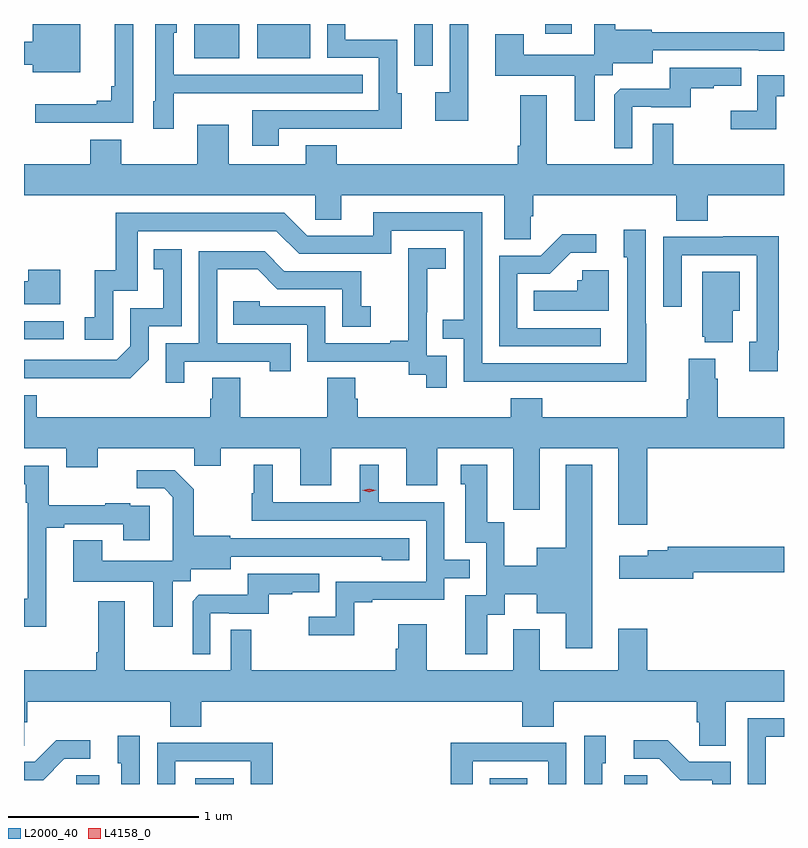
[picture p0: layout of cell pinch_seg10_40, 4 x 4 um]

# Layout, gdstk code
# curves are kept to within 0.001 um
import gdstk
lib = gdstk.Library(unit=1e-6, precision=1e-09)
def R(c, l, rs):  # rectangles x0, y0, x1, y1
    for r in rs: c.add(gdstk.rectangle(r[:2], r[2:], *l))
def P(c, l, *ps):  # polygons
    for p in ps: c.add(gdstk.Polygon(p, *l))
L2000_40 = (2000, 40)
L4158_0 = (4158, 0)

pinch_seg10_40 = lib.new_cell('pinch_seg10_40')
R(pinch_seg10_40, L2000_40, [(899.295,1277.238,899.416,1277.285), (899.921,1277.238,900.124,1277.269), (901.472,1277.238,901.669,1277.269), (902.18,1277.238,902.301,1277.285), (899.02,1279.578,899.23,1279.674), (901.074,1281.018,901.17,1281.238), (899.915,1281.059,900.154,1281.238), (900.248,1281.059,900.526,1281.238), (901.763,1281.186,901.903,1281.238)])
P(pinch_seg10_40, L2000_40, [(902.023,1280.968),(902.118,1280.968),(902.118,1281.032),(902.329,1281.032),(902.329,1281.099),(902.887,1281.099),(902.887,1281.098),(903.02,1281.098),(903.02,1281.195),(902.325,1281.195),(902.325,1281.208),(902.133,1281.208),(902.133,1281.238),(902.022,1281.238),(902.022,1281.076),(901.651,1281.076),(901.651,1281.185),(901.499,1281.185),(901.499,1280.966),(901.919,1280.966),(901.919,1280.73),(902.023,1280.73)],
  [(900.361,1280.688),(900.791,1280.688),(900.791,1280.687),(901.009,1280.687),(901.009,1280.874),(900.984,1280.874),(900.984,1281.156),(900.711,1281.156),(900.711,1281.238),(900.615,1281.238),(900.615,1281.06),(900.888,1281.06),(900.888,1280.784),(900.221,1280.784),(900.221,1280.598),(900.361,1280.598)],
  [(899.595,1281.238),(899.498,1281.238),(899.498,1280.911),(899.479,1280.911),(899.479,1280.834),(899.402,1280.834),(899.402,1280.815),(899.079,1280.815),(899.079,1280.718),(899.595,1280.718)],
  [(899.808,1280.873),(900.125,1280.873),(900.125,1280.874),(900.803,1280.874),(900.803,1280.97),(899.808,1280.97),(899.808,1281.192),(899.824,1281.192),(899.824,1281.238),(899.712,1281.238),(899.712,1280.832),(899.699,1280.832),(899.699,1280.688),(899.808,1280.688)],
  [(899.317,1281.238),(899.066,1281.238),(899.066,1281.145),(899.02,1281.145),(899.02,1281.023),(899.066,1281.023),(899.066,1280.984),(899.317,1280.984)],
  [(901.357,1281.238),(901.26,1281.238),(901.26,1280.878),(901.185,1280.878),(901.185,1280.73),(901.357,1280.73)],
  [(902.22,1280.802),(902.32,1280.802),(902.32,1280.799),(902.528,1280.799),(902.528,1280.901),(902.651,1280.901),(902.651,1280.912),(902.795,1280.912),(902.795,1281.009),(902.418,1281.009),(902.418,1280.897),(902.159,1280.897),(902.127,1280.865),(902.127,1280.585),(902.22,1280.585)],
  [(902.979,1280.859),(903.02,1280.859),(903.02,1280.967),(902.88,1280.967),(902.88,1280.782),(902.739,1280.782),(902.739,1280.684),(902.979,1280.684)],
  [(901.686,1280.227),(901.7,1280.227),(901.7,1280.336),(902.453,1280.336),(902.453,1280.203),(902.618,1280.203),(902.618,1280.336),(903.02,1280.336),(903.02,1280.5),(902.437,1280.5),(902.437,1280.714),(902.328,1280.714),(902.328,1280.5),(901.771,1280.5),(901.771,1280.863),(901.631,1280.863),(901.631,1280.596),(901.619,1280.596),(901.619,1280.5),(900.667,1280.5),(900.667,1280.599),(900.503,1280.599),(900.503,1280.5),(900.097,1280.5),(900.097,1280.707),(899.933,1280.707),(899.933,1280.5),(899.533,1280.5),(899.533,1280.629),(899.369,1280.629),(899.369,1280.5),(899.02,1280.5),(899.02,1280.336),(900.552,1280.336),(900.552,1280.209),(900.691,1280.209),(900.691,1280.336),(901.547,1280.336),(901.547,1280.104),(901.686,1280.104)],
  [(902.295,1279.661),(902.292,1279.661),(902.292,1280.155),(902.177,1280.155),(902.177,1280.01),(902.196,1280.01),(902.195,1279.452),(901.431,1279.452),(901.431,1280.247),(900.857,1280.247),(900.857,1280.124),(900.51,1280.124),(900.39,1280.244),(899.503,1280.244),(899.503,1279.942),(899.393,1279.942),(899.393,1279.695),(899.34,1279.695),(899.34,1279.575),(899.49,1279.575),(899.49,1279.833),(899.619,1279.833),(899.619,1280.148),(900.348,1280.148),(900.468,1280.028),(900.954,1280.028),(900.954,1280.151),(901.335,1280.151),(901.335,1279.682),(901.225,1279.682),(901.225,1279.581),(901.335,1279.581),(901.335,1279.356),(902.295,1279.355)],
  [(902.056,1279.638),(901.617,1279.638),(901.617,1279.923),(901.786,1279.923),(901.897,1280.034),(902.032,1280.034),(902.032,1280.132),(901.853,1280.132),(901.74,1280.019),(901.521,1280.019),(901.521,1279.542),(902.056,1279.542)],
  [(902.986,1279.522),(902.993,1279.522),(902.993,1280.12),(902.701,1280.12),(902.701,1280.118),(902.385,1280.118),(902.385,1279.749),(902.481,1279.749),(902.481,1280.022),(902.877,1280.022),(902.877,1279.566),(902.837,1279.566),(902.837,1279.41),(902.986,1279.41)],
  [(901.245,1279.491),(901.14,1279.491),(901.14,1279.721),(901.142,1279.721),(901.142,1279.949),(901.24,1279.949),(901.24,1280.059),(901.042,1280.059),(901.042,1279.853),(901.043,1279.853),(901.043,1279.57),(900.947,1279.57),(900.947,1279.557),(900.606,1279.557),(900.606,1279.752),(900.261,1279.752),(900.261,1279.779),(900.121,1279.779),(900.121,1279.656),(900.51,1279.656),(900.51,1279.461),(901.044,1279.461),(901.044,1279.393),(901.137,1279.393),(901.137,1279.323),(901.245,1279.323)],
  [(899.676,1279.47),(899.676,1279.647),(899.85,1279.647),(899.85,1280.053),(899.704,1280.053),(899.704,1279.947),(899.753,1279.947),(899.753,1279.743),(899.58,1279.743),(899.58,1279.542),(899.508,1279.47),(899.02,1279.47),(899.02,1279.374),(899.578,1279.373)],
  [(899.863,1279.461),(900.314,1279.461),(900.314,1279.41),(900.425,1279.41),(900.425,1279.557),(900.036,1279.557),(900.036,1279.946),(900.25,1279.946),(900.354,1279.842),(900.696,1279.842),(900.696,1279.644),(900.844,1279.644),(900.844,1279.753),(900.795,1279.753),(900.795,1279.938),(900.391,1279.938),(900.286,1280.043),(899.94,1280.043),(899.94,1279.557),(899.766,1279.557),(899.766,1279.35),(899.863,1279.35)],
  [(899.212,1279.945),(899.042,1279.945),(899.042,1279.885),(899.02,1279.885),(899.02,1279.763),(899.212,1279.763)],
  [(902.098,1279.942),(901.959,1279.942),(901.959,1279.89),(901.933,1279.89),(901.933,1279.834),(901.702,1279.834),(901.702,1279.73),(902.098,1279.73)],
  [(902.749,1279.73),(902.788,1279.73),(902.788,1279.933),(902.591,1279.933),(902.591,1279.593),(902.603,1279.593),(902.603,1279.562),(902.749,1279.562)],
  [(902.3,1279.004),(903.02,1279.004),(903.02,1279.168),(902.672,1279.168),(902.672,1279.37),(902.659,1279.37),(902.659,1279.477),(902.519,1279.477),(902.519,1279.264),(902.507,1279.264),(902.507,1279.168),(901.748,1279.168),(901.748,1279.267),(901.583,1279.267),(901.583,1279.168),(900.776,1279.168),(900.776,1279.266),(900.763,1279.266),(900.763,1279.376),(900.616,1279.376),(900.616,1279.168),(900.159,1279.168),(900.159,1279.376),(900.011,1279.376),(900.011,1279.266),(899.999,1279.266),(899.999,1279.168),(899.087,1279.168),(899.087,1279.285),(899.02,1279.285),(899.02,1279.004),(899.243,1279.004),(899.243,1278.905),(899.407,1278.905),(899.407,1279.004),(899.917,1279.004),(899.917,1278.914),(900.055,1278.914),(900.055,1279.004),(900.473,1279.004),(900.473,1278.81),(900.637,1278.81),(900.637,1279.004),(901.031,1279.004),(901.031,1278.81),(901.195,1278.81),(901.195,1279.004),(901.595,1279.004),(901.595,1278.793),(901.596,1278.793),(901.596,1278.681),(901.735,1278.681),(901.735,1279.004),(902.147,1279.004),(902.147,1278.603),(902.3,1278.603)],
  [(900.759,1278.195),(900.853,1278.195),(900.853,1278.207),(901.233,1278.207),(901.233,1278.321),(901.367,1278.321),(901.367,1278.417),(901.233,1278.417),(901.233,1278.72),(900.886,1278.72),(900.886,1278.919),(900.788,1278.919),(900.788,1278.72),(900.328,1278.72),(900.328,1278.919),(900.23,1278.919),(900.23,1278.768),(900.219,1278.768),(900.219,1278.624),(901.137,1278.624),(901.137,1278.303),(900.66,1278.303),(900.66,1278.118),(900.519,1278.118),(900.519,1278.02),(900.759,1278.02)],
  [(901.459,1278.13),(901.549,1278.13),(901.549,1278.236),(901.718,1278.236),(901.718,1278.137),(901.871,1278.137),(901.871,1277.952),(902.011,1277.952),(902.011,1278.919),(901.871,1278.919),(901.871,1278.481),(901.718,1278.481),(901.718,1278.388),(901.548,1278.388),(901.548,1278.615),(901.459,1278.615),(901.459,1278.919),(901.319,1278.919),(901.319,1278.816),(901.343,1278.816),(901.343,1278.507),(901.452,1278.507),(901.452,1278.231),(901.343,1278.231),(901.343,1277.922),(901.459,1277.922)],
  [(899.137,1278.588),(899.233,1278.588),(899.233,1278.606),(899.543,1278.606),(899.543,1278.522),(899.683,1278.522),(899.683,1278.702),(899.579,1278.702),(899.579,1278.715),(899.447,1278.715),(899.447,1278.704),(899.149,1278.704),(899.149,1278.912),(899.02,1278.912),(899.02,1278.815),(899.028,1278.815),(899.028,1278.719),(899.04,1278.719),(899.04,1278.214),(899.02,1278.214),(899.02,1278.066),(899.137,1278.066)],
  [(899.803,1278.304),(899.898,1278.304),(899.898,1278.368),(900.109,1278.368),(900.109,1278.435),(900.903,1278.434),(900.903,1278.416),(901.048,1278.416),(901.048,1278.531),(900.105,1278.531),(900.105,1278.544),(899.913,1278.544),(899.913,1278.789),(899.813,1278.889),(899.613,1278.889),(899.613,1278.795),(899.757,1278.795),(899.804,1278.748),(899.804,1278.653),(899.802,1278.653),(899.802,1278.412),(899.431,1278.412),(899.431,1278.521),(899.279,1278.521),(899.279,1278.302),(899.699,1278.302),(899.699,1278.066),(899.803,1278.066)],
  [(902.542,1278.352),(903.02,1278.352),(903.02,1278.488),(902.407,1278.488),(902.407,1278.469),(902.303,1278.469),(902.303,1278.439),(902.154,1278.439),(902.154,1278.317),(902.542,1278.317)],
  [(900,1278.138),(900.1,1278.138),(900.1,1278.135),(900.308,1278.135),(900.308,1278.237),(900.431,1278.237),(900.431,1278.248),(900.575,1278.248),(900.575,1278.345),(900.198,1278.345),(900.198,1278.233),(899.939,1278.233),(899.907,1278.201),(899.907,1277.921),(900,1277.921)],
  [(899.022,1277.563),(899.036,1277.563),(899.036,1277.672),(899.789,1277.672),(899.789,1277.539),(899.954,1277.539),(899.954,1277.672),(901.643,1277.672),(901.643,1277.539),(901.808,1277.539),(901.808,1277.672),(902.561,1277.672),(902.561,1277.563),(902.574,1277.563),(902.574,1277.44),(902.713,1277.44),(902.713,1277.672),(903.02,1277.672),(903.02,1277.836),(902.3,1277.836),(902.3,1278.055),(902.147,1278.055),(902.147,1277.836),(901.735,1277.836),(901.735,1278.052),(901.595,1278.052),(901.595,1277.836),(901.141,1277.836),(901.141,1278.079),(900.989,1278.079),(900.989,1277.949),(900.977,1277.949),(900.977,1277.836),(900.217,1277.836),(900.217,1278.05),(900.108,1278.05),(900.108,1277.836),(899.551,1277.836),(899.551,1278.199),(899.411,1278.199),(899.411,1277.932),(899.399,1277.932),(899.399,1277.836),(899.02,1277.836),(899.02,1277.44),(899.022,1277.44)],
  [(902.925,1277.487),(903.02,1277.487),(903.02,1277.583),(902.829,1277.583),(902.829,1277.238),(902.925,1277.238)],
  [(899.628,1277.491),(899.513,1277.491),(899.513,1277.346),(899.532,1277.346),(899.532,1277.238),(899.628,1277.238)],
  [(902.064,1277.346),(902.083,1277.346),(902.083,1277.491),(901.968,1277.491),(901.968,1277.238),(902.064,1277.238)],
  [(902.739,1277.355),(902.52,1277.355),(902.407,1277.468),(902.229,1277.468),(902.229,1277.37),(902.363,1277.37),(902.474,1277.259),(902.643,1277.259),(902.643,1277.238),(902.739,1277.238)],
  [(899.233,1277.37),(899.368,1277.37),(899.368,1277.468),(899.189,1277.468),(899.076,1277.355),(899.02,1277.355),(899.02,1277.259),(899.122,1277.259)],
  [(899.817,1277.358),(900.213,1277.358),(900.213,1277.238),(900.329,1277.238),(900.329,1277.456),(900.037,1277.456),(900.037,1277.454),(899.721,1277.454),(899.721,1277.238),(899.817,1277.238)],
  [(901.383,1277.358),(901.779,1277.358),(901.779,1277.238),(901.875,1277.238),(901.875,1277.454),(901.559,1277.454),(901.559,1277.456),(901.267,1277.456),(901.267,1277.238),(901.383,1277.238)])
P(pinch_seg10_40, L4158_0, [(900.837,1278.773),(900.801,1278.783),(900.801,1278.783),(900.801,1278.783),(900.837,1278.793),(900.873,1278.783),(900.873,1278.783),(900.873,1278.783)])

lib.write_gds('pinch_seg10_40.gds')
